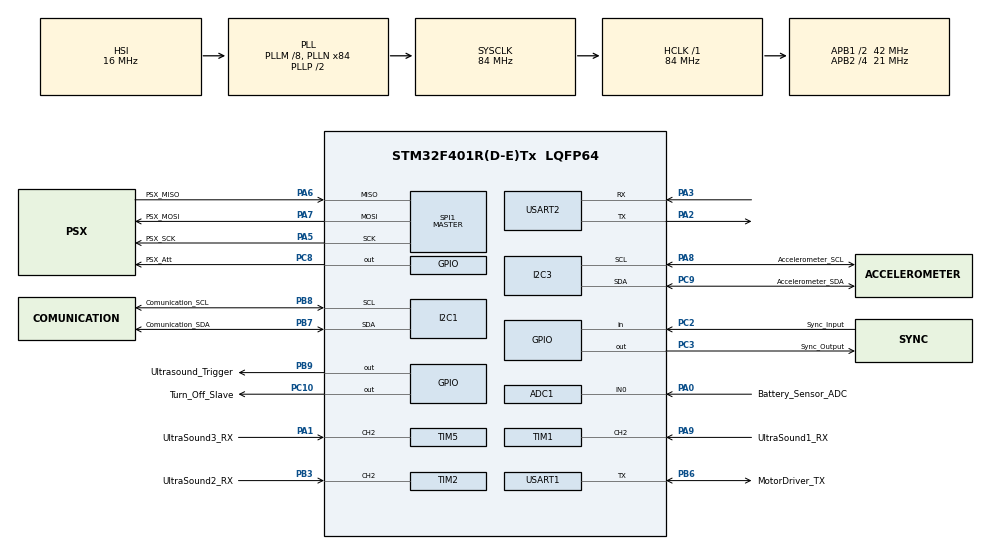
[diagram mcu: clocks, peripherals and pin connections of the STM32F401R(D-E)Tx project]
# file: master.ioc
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ADC1.Channel-0\#ChannelRegularConversion=ADC_CHANNEL_TEMPSENSOR
ADC1.ContinuousConvMode=ENABLE
ADC1.EOCSelection=ADC_EOC_SEQ_CONV
ADC1.NbrOfConversionFlag=1
ADC1.Rank-0\#ChannelRegularConversion=1
ADC1.SamplingTime-0\#ChannelRegularConversion=ADC_SAMPLETIME_3CYCLES
ADC1.master=1
FREERTOS.Tasks01=defaultTask,24,128,StartDefaultTask,Default,NULL,Dynamic,NULL,NULL
FREERTOS.configUSE_NEWLIB_REENTRANT=1
I2C1.I2C_Mode=I2C_Fast
I2C1.OwnAddress=1
I2C3.I2C_Mode=I2C_Fast
Mcu.Family=STM32F4
Mcu.Name=STM32F401R(D-E)Tx
Mcu.Package=LQFP64
NVIC.PriorityGroup=NVIC_PRIORITYGROUP_4
NVIC.TIM1_TRG_COM_TIM11_IRQn=true\:5\:0\:false\:false\:true\:false\:false\:true\:true
NVIC.TIM2_IRQn=true\:5\:0\:false\:false\:true\:true\:true\:true\:true
NVIC.TIM5_IRQn=true\:5\:0\:false\:false\:true\:true\:true\:true\:true
NVIC.TimeBase=TIM1_TRG_COM_TIM11_IRQn
NVIC.TimeBaseIP=TIM11
PA0-WKUP.GPIO_Label=Battery_Sensor_ADC
PA0-WKUP.Signal=ADCx_IN0
PA1.GPIO_Label=UltraSound3_RX
PA1.Signal=S_TIM5_CH2
PA2.Mode=Asynchronous
PA2.Signal=USART2_TX
PA3.Mode=Asynchronous
PA3.Signal=USART2_RX
PA5.GPIO_Label=PSX_SCK
PA5.Mode=Full_Duplex_Master
PA5.Signal=SPI1_SCK
PA6.GPIO_Label=PSX_MISO
PA6.Mode=Full_Duplex_Master
PA6.Signal=SPI1_MISO
PA7.GPIO_Label=PSX_MOSI
PA7.Mode=Full_Duplex_Master
PA7.Signal=SPI1_MOSI
PA8.GPIO_Label=Accelerometer_SCL
PA8.Mode=I2C
PA8.Signal=I2C3_SCL
PA9.GPIO_Label=UltraSound1_RX
PA9.Signal=S_TIM1_CH2
PB3.GPIO_Label=UltraSound2_RX
PB3.Signal=S_TIM2_CH2
PB6.GPIO_Label=MotorDriver_TX
PB6.Mode=Half_duplex(single_wire_mode)
PB6.Signal=USART1_TX
PB7.GPIO_Label=Comunication_SDA
PB7.GPIO_Pu=GPIO_PULLUP
PB7.Mode=I2C
PB7.Signal=I2C1_SDA
PB8.GPIO_Label=Comunication_SCL
PB8.GPIO_Pu=GPIO_PULLUP
PB8.Mode=I2C
PB8.Signal=I2C1_SCL
PB9.GPIO_Label=Ultrasound_Trigger
PB9.Signal=GPIO_Output
PC10.GPIO_Label=Turn_Off_Slave
PC10.Signal=GPIO_Output
PC2.GPIO_Label=Sync_Input
PC2.Signal=GPIO_Input
PC3.GPIO_Label=Sync_Output
PC3.Signal=GPIO_Output
PC8.GPIO_Label=PSX_Att
PC8.Signal=GPIO_Output
PC9.GPIO_Label=Accelerometer_SDA
PC9.Mode=I2C
PC9.Signal=I2C3_SDA
ProjectManager.HeapSize=0x200
ProjectManager.StackSize=0x400
ProjectManager.TargetToolchain=STM32CubeIDE
RCC.48MHZClocksFreq_Value=42000000
RCC.AHBFreq_Value=84000000
RCC.APB1CLKDivider=RCC_HCLK_DIV2
RCC.APB1Freq_Value=42000000
RCC.APB1TimFreq_Value=84000000
RCC.APB2CLKDivider=RCC_HCLK_DIV4
RCC.APB2Freq_Value=21000000
RCC.APB2TimFreq_Value=42000000
RCC.CortexFreq_Value=84000000
RCC.HCLKFreq_Value=84000000
RCC.HSE_VALUE=25000000
RCC.HSI_VALUE=16000000
RCC.LSE_VALUE=32768
RCC.PLLM=8
RCC.PLLN=84
RCC.SYSCLKFreq_VALUE=84000000
RCC.SYSCLKSource=RCC_SYSCLKSOURCE_PLLCLK
RCC.VCOOutputFreq_Value=168000000
SH.ADCx_IN0.0=ADC1_IN0,IN0
SH.S_TIM1_CH2.0=TIM1_CH2,Input_Capture2_from_TI2
SH.S_TIM2_CH2.0=TIM2_CH2,Input_Capture2_from_TI2
SH.S_TIM5_CH2.0=TIM5_CH2,Input_Capture2_from_TI2
SPI1.BaudRatePrescaler=SPI_BAUDRATEPRESCALER_256
SPI1.CLKPhase=SPI_PHASE_2EDGE
SPI1.CLKPolarity=SPI_POLARITY_HIGH
SPI1.Direction=SPI_DIRECTION_2LINES
SPI1.FirstBit=SPI_FIRSTBIT_LSB
SPI1.Mode=SPI_MODE_MASTER
SPI1.VirtualType=VM_MASTER
TIM1.Channel-Input_Capture2_from_TI2=TIM_CHANNEL_2
TIM1.ICPolarity_CH2=TIM_INPUTCHANNELPOLARITY_BOTHEDGE
TIM1.Prescaler=42-1
TIM2.Channel-Input_Capture2_from_TI2=TIM_CHANNEL_2
TIM2.Period=65535
TIM2.Prescaler=84-1
TIM5.Channel-Input_Capture2_from_TI2=TIM_CHANNEL_2
TIM5.Period=65535
TIM5.Prescaler=84-1
USART1.BaudRate=38400
USART1.VirtualMode=VM_ASYNC
USART2.VirtualMode=VM_ASYNC
VP_ADC1_TempSens_Input.Mode=IN-TempSens
VP_FREERTOS_VS_CMSIS_V2.Mode=CMSIS_V2
VP_SYS_VS_tim11.Mode=TIM11
board=custom

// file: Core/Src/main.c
/* USER CODE BEGIN Header */
/**
  ******************************************************************************
  * @file           : main.c
  * @brief          : Main program body
  ******************************************************************************
  * @attention
  *
  * Copyright (c) 2023 STMicroelectronics.
  * All rights reserved.
  *
  * This software is licensed under terms that can be found in the LICENSE file
  * in the root directory of this software component.
  * If no LICENSE file comes with this software, it is provided AS-IS.
  *
  ******************************************************************************
  */
/* USER CODE END Header */
#include <panda_comunication.h>
#include "main.h"
#include "cmsis_os.h"
#include "adc.h"
#include "i2c.h"
#include "spi.h"
#include "tim.h"
#include "usart.h"
#include "gpio.h"

/* USER CODE BEGIN Includes */
#include "panda_psx_controller.h"
#include "panda_hcsr04_driver.h"
#include "panda_mpu6050.h"
#include "led.h"
/* USER CODE END Includes */

/* USER CODE BEGIN PTD */
#ifdef __GNUC__
#define PUTCHAR_PROTOTYPE int __io_putchar(int ch)
#else
#define PUTCHAR_PROTOTYPE int fputc(int ch, FILE *f)
#endif

PUTCHAR_PROTOTYPE
{
  HAL_UART_Transmit(&huart2, (uint8_t *)&ch, 1, 0xFFFF);
  return ch;
}

/* USER CODE END PTD */

void SystemClock_Config(void);
void MX_FREERTOS_Init(void);

/* USER CODE BEGIN 0 */
Global_Struct_t Global_Struct_Master[PANDA_STRUCT_MASTER_SIZE];
Global_Struct_t Global_Struct[PANDA_STRUCT_GLOBAL_SIZE];
MPU6050_t MPU6050;
psx_t psx;
HCSR04_t ultrasound_left;
HCSR04_t ultrasound_middle;
HCSR04_t ultrasound_right;
/* USER CODE END 0 */

int main(void)
{

  /* MCU Configuration--------------------------------------------------------*/

  /* Reset of all peripherals, Initializes the Flash interface and the Systick. */
  HAL_Init();

  /* Configure the system clock */
  SystemClock_Config();

  /* Initialize all configured peripherals */
  MX_GPIO_Init();
  MX_SPI1_Init();
  MX_USART1_UART_Init();
  MX_USART2_UART_Init();
  MX_TIM1_Init();
  MX_TIM2_Init();
  MX_TIM5_Init();
  MX_I2C1_Init();
  MX_I2C3_Init();
  MX_ADC1_Init();
  /* USER CODE BEGIN 2 */
  HAL_TIM_IC_Start_IT(&htim1, TIM_CHANNEL_2);
  HAL_TIM_IC_Start_IT(&htim2, TIM_CHANNEL_2);
  HAL_TIM_IC_Start_IT(&htim5, TIM_CHANNEL_2);

  Global_Struct_Master_Init(Global_Struct_Master);
  Global_Struct_Init(Global_Struct);
  HAL_GPIO_WritePin(Turn_Off_Slave_GPIO_Port, Turn_Off_Slave_Pin, GPIO_PIN_RESET);
  panda_psx_init(&psx, &hspi1, PSX_Att_GPIO_Port, PSX_Att_Pin);
  panda_HCSR04_init(&ultrasound_left, &htim1, Ultrasound_Trigger_GPIO_Port, Ultrasound_Trigger_Pin);
  panda_HCSR04_init(&ultrasound_middle, &htim2, Ultrasound_Trigger_GPIO_Port, Ultrasound_Trigger_Pin);
  panda_HCSR04_init(&ultrasound_right, &htim5, Ultrasound_Trigger_GPIO_Port, Ultrasound_Trigger_Pin);
  panda_mpu6050_init(&MPU6050, &hi2c3);
  panda_comunication_init_sync(&hi2c1, Sync_Output_GPIO_Port, Sync_Output_Pin, Sync_Input_GPIO_Port, Sync_Input_Pin);
  /* USER CODE END 2 */

  /* Init scheduler */
  osKernelInitialize();  /* Call init function for freertos objects (in freertos.c) */
  MX_FREERTOS_Init();

  /* Start scheduler */
  osKernelStart();

  /* We should never get here as control is now taken by the scheduler */
  /* Infinite loop */
  while (1)
  {

  }
}

void SystemClock_Config(void)
{
  RCC_OscInitTypeDef RCC_OscInitStruct = {0};
  RCC_ClkInitTypeDef RCC_ClkInitStruct = {0};

  /** Configure the main internal regulator output voltage
  */
  __HAL_RCC_PWR_CLK_ENABLE();
  __HAL_PWR_VOLTAGESCALING_CONFIG(PWR_REGULATOR_VOLTAGE_SCALE2);

  /** Initializes the RCC Oscillators according to the specified parameters
  * in the RCC_OscInitTypeDef structure.
  */
  RCC_OscInitStruct.OscillatorType = RCC_OSCILLATORTYPE_HSI;
  RCC_OscInitStruct.HSIState = RCC_HSI_ON;
  RCC_OscInitStruct.HSICalibrationValue = RCC_HSICALIBRATION_DEFAULT;
  RCC_OscInitStruct.PLL.PLLState = RCC_PLL_ON;
  RCC_OscInitStruct.PLL.PLLSource = RCC_PLLSOURCE_HSI;
  RCC_OscInitStruct.PLL.PLLM = 8;
  RCC_OscInitStruct.PLL.PLLN = 84;
  RCC_OscInitStruct.PLL.PLLP = RCC_PLLP_DIV2;
  RCC_OscInitStruct.PLL.PLLQ = 4;
  if (HAL_RCC_OscConfig(&RCC_OscInitStruct) != HAL_OK)
  {
    Error_Handler();
  }

  /** Initializes the CPU, AHB and APB buses clocks
  */
  RCC_ClkInitStruct.ClockType = RCC_CLOCKTYPE_HCLK|RCC_CLOCKTYPE_SYSCLK
                              |RCC_CLOCKTYPE_PCLK1|RCC_CLOCKTYPE_PCLK2;
  RCC_ClkInitStruct.SYSCLKSource = RCC_SYSCLKSOURCE_PLLCLK;
  RCC_ClkInitStruct.AHBCLKDivider = RCC_SYSCLK_DIV1;
  RCC_ClkInitStruct.APB1CLKDivider = RCC_HCLK_DIV2;
  RCC_ClkInitStruct.APB2CLKDivider = RCC_HCLK_DIV4;

  if (HAL_RCC_ClockConfig(&RCC_ClkInitStruct, FLASH_LATENCY_2) != HAL_OK)
  {
    Error_Handler();
  }
}

/* USER CODE BEGIN 4 */
void HAL_TIM_IC_CaptureCallback(TIM_HandleTypeDef *htim)
{
	if (htim->Instance == ultrasound_middle.timer->Instance)  // if the interrupt source is channel1
		panda_HCSR04_callback_evaluations(&ultrasound_middle, TIM_CHANNEL_2);
	else if(htim->Instance == ultrasound_left.timer->Instance)
		panda_HCSR04_callback_evaluations(&ultrasound_left, TIM_CHANNEL_2);
	else if(htim->Instance == ultrasound_right.timer->Instance)
		panda_HCSR04_callback_evaluations(&ultrasound_right, TIM_CHANNEL_2);

}
/* USER CODE END 4 */

void HAL_TIM_PeriodElapsedCallback(TIM_HandleTypeDef *htim)
{
  if (htim->Instance == TIM11) {
    HAL_IncTick();
  }
}

void Error_Handler(void)
{
  __disable_irq();
  while (1)
  {
  }
}

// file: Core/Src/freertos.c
/* USER CODE BEGIN Header */
/**
  ******************************************************************************
  * File Name          : freertos.c
  * Description        : Code for freertos applications
  ******************************************************************************
  * @attention
  *
  * Copyright (c) 2023 STMicroelectronics.
  * All rights reserved.
  *
  * This software is licensed under terms that can be found in the LICENSE file
  * in the root directory of this software component.
  * If no LICENSE file comes with this software, it is provided AS-IS.
  *
  ******************************************************************************
  */
/* USER CODE END Header */

#include "FreeRTOS.h"
#include "main.h"
#include "cmsis_os.h"
#include "task.h"
/* USER CODE BEGIN Includes */
#include "FreeRTOS_Tasks.h"
/* USER CODE END Includes */

/* Definitions for defaultTask */

void StartDefaultTask(void *argument);

void MX_FREERTOS_Init(void); /* (MISRA C 2004 rule 8.1) */

void MX_FREERTOS_Init(void) {
  /* USER CODE BEGIN Init */
	vSchedulerInit();
	printf("------------Hello From FreeRTOS------------\r\n");
	vSchedulerInit();
  /* USER CODE END Init */

  /* Create the thread(s) */
  /* creation of defaultTask */

  /* USER CODE BEGIN RTOS_THREADS */
  /* add threads, ... */
  FreeRTOS_Tasks_Init();

  /* USER CODE END RTOS_THREADS */

}

void StartDefaultTask(void *argument)
{
  for(;;)
  {
    osDelay(1);
  }
}
